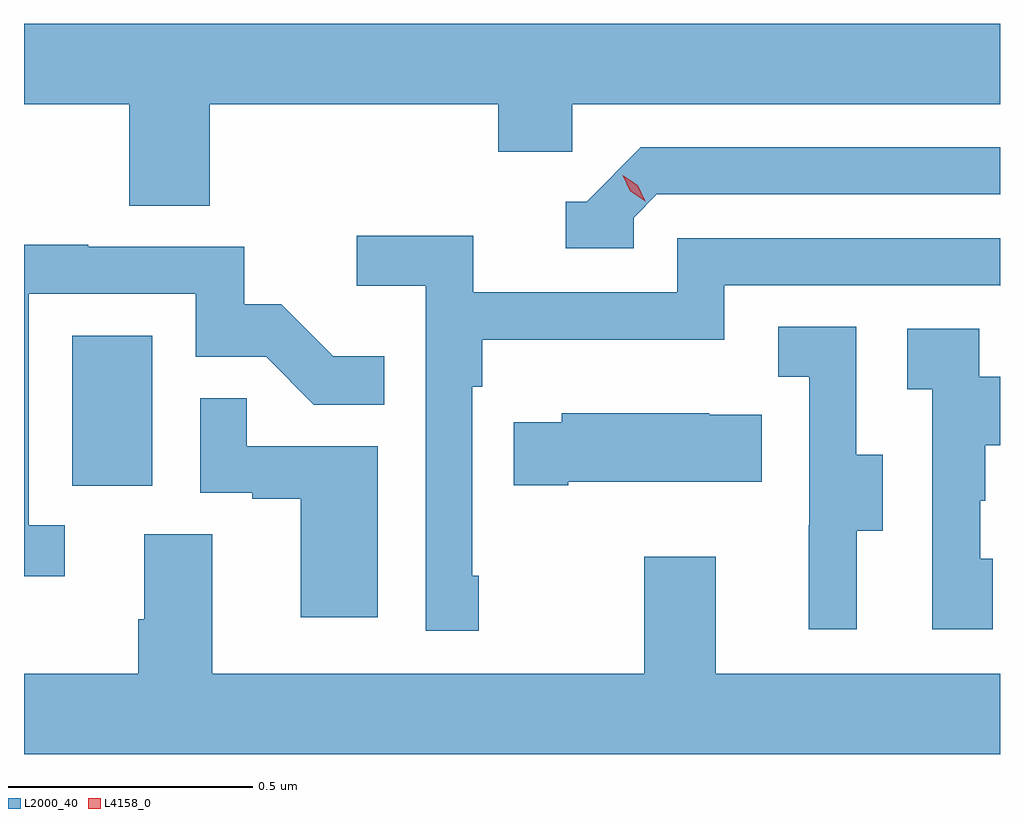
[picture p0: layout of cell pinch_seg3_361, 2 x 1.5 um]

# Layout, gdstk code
import gdstk
lib = gdstk.Library(unit=1e-6, precision=1e-09)
def R(c, l, rs):  # rectangles x0, y0, x1, y1
    for r in rs: c.add(gdstk.rectangle(r[:2], r[2:], *l))
def P(c, l, *ps):  # polygons
    for p in ps: c.add(gdstk.Polygon(p, *l))
L2000_40 = (2000, 40)
L4158_0 = (4158, 0)

pinch_seg3_361 = lib.new_cell('pinch_seg3_361')
R(pinch_seg3_361, L2000_40, [(978.062,697.47,978.226,697.777)])
P(pinch_seg3_361, L2000_40, [(978.344,698.252),(978.935,698.252),(978.935,698.154),(979.086,698.154),(979.086,698.252),(979.963,698.252),(979.963,698.416),(977.963,698.416),(977.963,698.252),(978.179,698.252),(978.179,698.044),(978.344,698.044)],
  [(979.212,698.019),(979.26,698.067),(979.963,698.067),(979.963,698.163),(979.227,698.163),(979.116,698.052),(979.073,698.052),(979.073,697.956),(979.212,697.956)],
  [(978.895,697.285),(978.882,697.285),(978.882,697.673),(978.902,697.673),(978.902,697.769),(979.398,697.769),(979.398,697.881),(979.962,697.881),(979.963,697.88),(979.963,697.977),(979.302,697.977),(979.302,697.866),(978.884,697.866),(978.884,697.982),(978.645,697.982),(978.645,697.88),(978.786,697.88),(978.786,697.173),(978.895,697.173)],
  [(978.046,697.389),(977.973,697.389),(977.973,697.863),(978.315,697.863),(978.315,697.734),(978.459,697.734),(978.557,697.636),(978.701,697.636),(978.701,697.735),(978.597,697.735),(978.49,697.842),(978.414,697.842),(978.414,697.959),(978.095,697.959),(978.095,697.964),(977.963,697.964),(977.963,697.284),(978.046,697.284)],
  [(979.669,697.378),(979.723,697.378),(979.723,697.533),(979.668,697.533),(979.668,697.796),(979.509,697.796),(979.509,697.693),(979.572,697.693),(979.572,697.389),(979.571,697.389),(979.571,697.176),(979.669,697.176)],
  [(979.948,697.32),(979.923,697.32),(979.923,697.439),(979.933,697.439),(979.933,697.553),(979.963,697.553),(979.963,697.693),(979.92,697.693),(979.92,697.791),(979.773,697.791),(979.773,697.667),(979.824,697.667),(979.824,697.176),(979.948,697.176)],
  [(978.688,697.551),(978.419,697.551),(978.419,697.649),(978.324,697.649),(978.324,697.455),(978.431,697.455),(978.431,697.443),(978.53,697.443),(978.53,697.2),(978.688,697.2)],
  [(979.078,697.478),(979.475,697.478),(979.475,697.615),(979.367,697.615),(979.367,697.618),(979.065,697.618),(979.065,697.6),(978.967,697.6),(978.967,697.471),(979.078,697.471)],
  [(979.963,697.084),(979.381,697.084),(979.381,697.324),(979.234,697.324),(979.234,697.084),(978.349,697.084),(978.349,697.37),(978.209,697.37),(978.209,697.196),(978.197,697.196),(978.197,697.084),(977.963,697.084),(977.963,696.92),(979.963,696.92)])
P(pinch_seg3_361, L4158_0, [(979.236,698.053),(979.205,698.073),(979.19,698.106),(979.19,698.106),(979.19,698.106),(979.221,698.086),(979.236,698.053),(979.236,698.053)])

lib.write_gds('pinch_seg3_361.gds')
